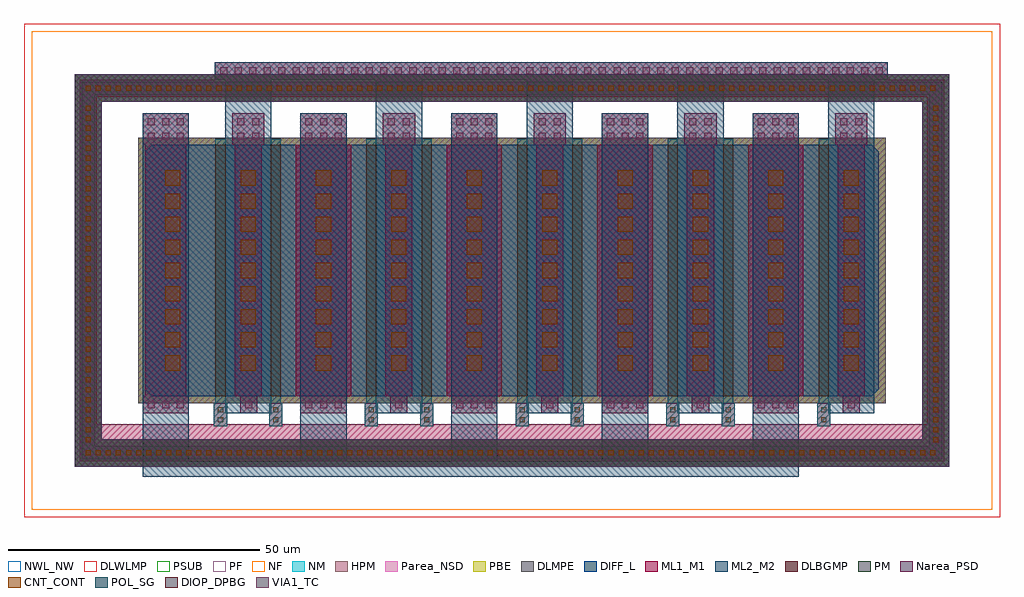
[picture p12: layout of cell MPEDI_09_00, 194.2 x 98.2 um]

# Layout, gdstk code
from math import pi, radians
import gdstk
lib = gdstk.Library(unit=1e-6, precision=1e-09)
def R(c, l, rs):  # rectangles x0, y0, x1, y1
    for r in rs: c.add(gdstk.rectangle(r[:2], r[2:], *l))
def A(c, l, x, y, w, h, nx, ny, dx, dy):  # array of equal rectangles
    R(c, l, [(x+i*dx, y+j*dy, x+i*dx+w, y+j*dy+h) for i in range(nx) for j in range(ny)])
def P(c, l, *ps):  # polygons
    for p in ps: c.add(gdstk.Polygon(p, *l))
DIFF_L = (3, 0)
NM = (7, 0)
POL_SG = (8, 0)
Narea_PSD = (9, 0)
CNT_CONT = (11, 0)
ML1_M1 = (13, 0)
VIA1_TC = (19, 0)
ML2_M2 = (20, 0)
NF = (25, 0)
PF = (26, 0)
Parea_NSD = (28, 0)
HPM = (33, 0)
PM = (35, 0)
NWL_NW = (36, 0)
DIOP_DPBG = (116, 0)
PSUB = (140, 0)
PBE = (146, 0)
DLWLMP = (150, 0)
DLMPE = (169, 0)
DLBGMP = (177, 0)

bgmp_cdns_696587122380 = lib.new_cell('BGMP_CDNS_696587122380')
R(bgmp_cdns_696587122380, DIFF_L, [(0,0,171.2,2.6)])
R(bgmp_cdns_696587122380, NM, [(-1.4,-1.4,172.6,4)])
R(bgmp_cdns_696587122380, Narea_PSD, [(-1.4,-1.4,172.6,4)])
A(bgmp_cdns_696587122380, CNT_CONT, 0.8, 0.8, 1, 1, 85, 1, 2, 0)
R(bgmp_cdns_696587122380, ML1_M1, [(0,0,171.2,2.6)])
R(bgmp_cdns_696587122380, HPM, [(-1.4,-1.4,172.6,4)])
R(bgmp_cdns_696587122380, PM, [(-1.4,-1.4,172.6,4)])

bgmp_cdns_696587122381 = lib.new_cell('BGMP_CDNS_696587122381')
R(bgmp_cdns_696587122381, DIFF_L, [(0,0,70,2.6)])
R(bgmp_cdns_696587122381, NM, [(-1.4,-1.4,71.4,4)])
R(bgmp_cdns_696587122381, Narea_PSD, [(-1.4,-1.4,71.4,4)])
A(bgmp_cdns_696587122381, CNT_CONT, 0.8, 0.8, 1, 1, 34, 1, 2, 0)
R(bgmp_cdns_696587122381, ML1_M1, [(0,0,70,2.6)])
R(bgmp_cdns_696587122381, HPM, [(-1.4,-1.4,71.4,4)])
R(bgmp_cdns_696587122381, PM, [(-1.4,-1.4,71.4,4)])

mpe_cdns_696587122382 = lib.new_cell('MPE_CDNS_696587122382')
R(mpe_cdns_696587122382, DIFF_L, [(10,0,12,50)])
P(mpe_cdns_696587122382, DIFF_L, [(12,0),(12,50),(24.6,50),(26,48.6),(26,1.4),(24.6,0)],
  [(1.4,0),(0,1.4),(0,48.6),(1.4,50),(10,50),(10,0)])
R(mpe_cdns_696587122382, NM, [(-1.4,-1.4,27.4,51.4)])
R(mpe_cdns_696587122382, POL_SG, [(10,-1.2,12,0), (10,-1.2,12,51.2), (10,50,12,51.2)])
A(mpe_cdns_696587122382, CNT_CONT, 4, 5.1, 3, 3, 1, 9, 0, 4.6)
A(mpe_cdns_696587122382, CNT_CONT, 19, 5.1, 3, 3, 1, 9, 0, 4.6)
R(mpe_cdns_696587122382, ML1_M1, [(2.8,0,8.2,50), (17.8,0,26,50)])
R(mpe_cdns_696587122382, Parea_NSD, [(-1.4,-1.4,27.4,51.4)])
R(mpe_cdns_696587122382, HPM, [(-1.4,-1.4,27.4,51.4)])
R(mpe_cdns_696587122382, DIOP_DPBG, [(10,0,12,50)])
R(mpe_cdns_696587122382, PBE, [(-1.4,-1.4,27.4,51.4)])
R(mpe_cdns_696587122382, DLMPE, [(-1.4,-1.4,27.4,51.4)])

wlmp_cdns_696587122383 = lib.new_cell('WLMP_CDNS_696587122383')
R(wlmp_cdns_696587122383, NF, [(1.5,1.5,192.7,96.7)])
R(wlmp_cdns_696587122383, PF, [(1.5,1.5,192.7,96.7)])
R(wlmp_cdns_696587122383, NWL_NW, [(0,0,194.2,98.2)])
R(wlmp_cdns_696587122383, PSUB, [(1.5,1.5,192.7,96.7)])
R(wlmp_cdns_696587122383, DLWLMP, [(0,0,194.2,98.2)])

sgct_cdns_696587122380 = lib.new_cell('SGCT_CDNS_696587122380')
R(sgct_cdns_696587122380, POL_SG, [(-1.3,-2.3,1.3,2.3)])
R(sgct_cdns_696587122380, CNT_CONT, [(-0.5,-1.5,0.5,-0.5), (-0.5,0.5,0.5,1.5)])
R(sgct_cdns_696587122380, ML1_M1, [(-1.3,-2.3,1.3,2.3)])

tc14_cdns_696587122381 = lib.new_cell('TC14_CDNS_696587122381')
R(tc14_cdns_696587122381, ML1_M1, [(-4.6,-1.7,4.6,1.7)])
A(tc14_cdns_696587122381, VIA1_TC, -3.6, -0.7, 1.4, 1.4, 3, 1, 2.9, 0)
R(tc14_cdns_696587122381, ML2_M2, [(-4.6,-1.7,4.6,1.7)])

tc14_cdns_696587122382 = lib.new_cell('TC14_CDNS_696587122382')
R(tc14_cdns_696587122382, ML1_M1, [(-4.6,-3.1,4.6,3.2)])
A(tc14_cdns_696587122382, VIA1_TC, -3.6, -2.1, 1.4, 1.4, 3, 2, 2.9, 2.9)
R(tc14_cdns_696587122382, ML2_M2, [(-4.6,-3.1,4.6,3.2)])

tc14_cdns_696587122383 = lib.new_cell('TC14_CDNS_696587122383')
R(tc14_cdns_696587122383, ML1_M1, [(-1.7,-3.1,1.7,3.2)])
R(tc14_cdns_696587122383, VIA1_TC, [(-0.7,-2.1,0.7,-0.7), (-0.7,0.8,0.7,2.2)])
R(tc14_cdns_696587122383, ML2_M2, [(-1.7,-3.1,1.7,3.2)])

tc14_cdns_696587122384 = lib.new_cell('TC14_CDNS_696587122384')
R(tc14_cdns_696587122384, ML1_M1, [(-1.7,-1.7,1.7,1.7)])
R(tc14_cdns_696587122384, VIA1_TC, [(-0.7,-0.7,0.7,0.7)])
R(tc14_cdns_696587122384, ML2_M2, [(-1.7,-1.7,1.7,1.7)])

tc14_cdns_696587122385 = lib.new_cell('TC14_CDNS_696587122385')
R(tc14_cdns_696587122385, ML1_M1, [(-66.9,-1.7,67,1.7)])
A(tc14_cdns_696587122385, VIA1_TC, -65.9, -0.7, 1.4, 1.4, 46, 1, 2.9, 0)
R(tc14_cdns_696587122385, ML2_M2, [(-66.9,-1.7,67,1.7)])

mpedi_09_00 = lib.new_cell('MPEDI_09_00')
R(mpedi_09_00, POL_SG, [(38.1,22.7,40.1,22.9), (49.1,22.7,51.1,22.9), (68.1,22.7,70.1,22.9), (79.1,22.7,81.1,22.9), (98.1,22.7,100.1,22.9), (109.1,22.7,111.1,22.9), (128.1,22.7,130.1,22.9), (139.1,22.7,141.1,22.9), (158.1,22.7,160.1,22.9)])
R(mpedi_09_00, ML1_M1, [(14.1,14.1,180.1,18.5)])
A(mpedi_09_00, ML2_M2, 55, 8.1, 9.2, 72.3, 4, 1, 30, 0)
A(mpedi_09_00, ML2_M2, 40, 20.7, 9.2, 69.8, 5, 1, 30, 0)
R(mpedi_09_00, ML2_M2, [(23.6,8.1,32.8,80.4), (23.6,8.1,25,9.5), (38,89.1,39.4,90.5)])
R(mpedi_09_00, DLBGMP, [(10.1,10.1,184.1,15.5), (10.1,12.7,15.5,85.5), (178.7,12.7,184.1,85.5), (10.1,82.7,184.1,88.1)])
mpedi_09_00.add(gdstk.FlexPath([(11.1,12.8),(183.1,12.8)], 3.4, ends="flush", simple_path=True, layer=13, datatype=0))  # ML1_M1
mpedi_09_00.add(gdstk.FlexPath([(11.1,85.4),(183.1,85.4)], 3.4, ends="flush", simple_path=True, layer=13, datatype=0))  # ML1_M1
mpedi_09_00.add(gdstk.FlexPath([(12.8,11.1),(12.8,87.1)], 3.4, ends="flush", simple_path=True, layer=13, datatype=0))  # ML1_M1
mpedi_09_00.add(gdstk.FlexPath([(181.4,11.1),(181.4,87.1)], 3.4, ends="flush", simple_path=True, layer=13, datatype=0))  # ML1_M1
mpedi_09_00.add(gdstk.FlexPath([(154.2,9.6),(23.6,9.6)], 3, ends="flush", simple_path=True, layer=20, datatype=0))  # ML2_M2
mpedi_09_00.add(gdstk.Reference(bgmp_cdns_696587122380, (11.5,84.1)))
mpedi_09_00.add(gdstk.Reference(bgmp_cdns_696587122380, (11.5,11.5)))
mpedi_09_00.add(gdstk.Reference(bgmp_cdns_696587122381, (14.1,14.1), rotation=pi/2))
mpedi_09_00.add(gdstk.Reference(bgmp_cdns_696587122381, (182.7,14.1), rotation=pi/2))
mpedi_09_00.add(gdstk.Reference(mpe_cdns_696587122382, (110.1,24.1), rotation=pi, x_reflection=True))
mpedi_09_00.add(gdstk.Reference(mpe_cdns_696587122382, (69.1,24.1)))
mpedi_09_00.add(gdstk.Reference(mpe_cdns_696587122382, (129.1,24.1)))
mpedi_09_00.add(gdstk.Reference(mpe_cdns_696587122382, (140.1,24.1), rotation=pi, x_reflection=True))
mpedi_09_00.add(gdstk.Reference(mpe_cdns_696587122382, (99.1,24.1)))
mpedi_09_00.add(gdstk.Reference(mpe_cdns_696587122382, (170.1,24.1), rotation=pi, x_reflection=True))
mpedi_09_00.add(gdstk.Reference(mpe_cdns_696587122382, (50.1,24.1), rotation=pi, x_reflection=True))
mpedi_09_00.add(gdstk.Reference(mpe_cdns_696587122382, (39.1,24.1)))
mpedi_09_00.add(gdstk.Reference(mpe_cdns_696587122382, (80.1,24.1), rotation=pi, x_reflection=True))
mpedi_09_00.add(gdstk.Reference(wlmp_cdns_696587122383, (0,0)))
mpedi_09_00.add(gdstk.Reference(sgct_cdns_696587122380, (159.1,20.4)))
mpedi_09_00.add(gdstk.Reference(sgct_cdns_696587122380, (140.1,20.4)))
mpedi_09_00.add(gdstk.Reference(sgct_cdns_696587122380, (129.1,20.4)))
mpedi_09_00.add(gdstk.Reference(sgct_cdns_696587122380, (110.1,20.4)))
mpedi_09_00.add(gdstk.Reference(sgct_cdns_696587122380, (99.1,20.4)))
mpedi_09_00.add(gdstk.Reference(sgct_cdns_696587122380, (80.1,20.4)))
mpedi_09_00.add(gdstk.Reference(sgct_cdns_696587122380, (69.1,20.4)))
mpedi_09_00.add(gdstk.Reference(sgct_cdns_696587122380, (50.1,20.4)))
mpedi_09_00.add(gdstk.Reference(sgct_cdns_696587122380, (39.1,20.4)))
mpedi_09_00.add(gdstk.Reference(tc14_cdns_696587122381, (149.6,22.4)))
mpedi_09_00.add(gdstk.Reference(tc14_cdns_696587122381, (119.6,22.4)))
mpedi_09_00.add(gdstk.Reference(tc14_cdns_696587122381, (89.6,22.4)))
mpedi_09_00.add(gdstk.Reference(tc14_cdns_696587122381, (59.6,22.4)))
mpedi_09_00.add(gdstk.Reference(tc14_cdns_696587122381, (28.2,22.4)))
mpedi_09_00.add(gdstk.Reference(tc14_cdns_696587122382, (149.6,77.2)))
mpedi_09_00.add(gdstk.Reference(tc14_cdns_696587122382, (119.6,77.2)))
mpedi_09_00.add(gdstk.Reference(tc14_cdns_696587122382, (89.6,77.2)))
mpedi_09_00.add(gdstk.Reference(tc14_cdns_696587122382, (59.6,77.2)))
mpedi_09_00.add(gdstk.Reference(tc14_cdns_696587122382, (28.2,77.2)))
mpedi_09_00.add(gdstk.Reference(tc14_cdns_696587122383, (166.1,77.2)))
mpedi_09_00.add(gdstk.Reference(tc14_cdns_696587122383, (163.1,77.2)))
mpedi_09_00.add(gdstk.Reference(tc14_cdns_696587122383, (136.1,77.2)))
mpedi_09_00.add(gdstk.Reference(tc14_cdns_696587122383, (133.1,77.2)))
mpedi_09_00.add(gdstk.Reference(tc14_cdns_696587122383, (106.1,77.2)))
mpedi_09_00.add(gdstk.Reference(tc14_cdns_696587122383, (103.1,77.2)))
mpedi_09_00.add(gdstk.Reference(tc14_cdns_696587122383, (76.1,77.2)))
mpedi_09_00.add(gdstk.Reference(tc14_cdns_696587122383, (73.1,77.2)))
mpedi_09_00.add(gdstk.Reference(tc14_cdns_696587122383, (46.1,77.2)))
mpedi_09_00.add(gdstk.Reference(tc14_cdns_696587122383, (43.1,77.2)))
mpedi_09_00.add(gdstk.Reference(tc14_cdns_696587122384, (164.6,22.4)))
mpedi_09_00.add(gdstk.Reference(tc14_cdns_696587122384, (134.6,22.4)))
mpedi_09_00.add(gdstk.Reference(tc14_cdns_696587122384, (104.6,22.4)))
mpedi_09_00.add(gdstk.Reference(tc14_cdns_696587122384, (74.6,22.4)))
mpedi_09_00.add(gdstk.Reference(tc14_cdns_696587122384, (44.7,22.4)))
mpedi_09_00.add(gdstk.Reference(tc14_cdns_696587122385, (104.9,88.8)))

lib.write_gds('MPEDI_09_00.gds')
